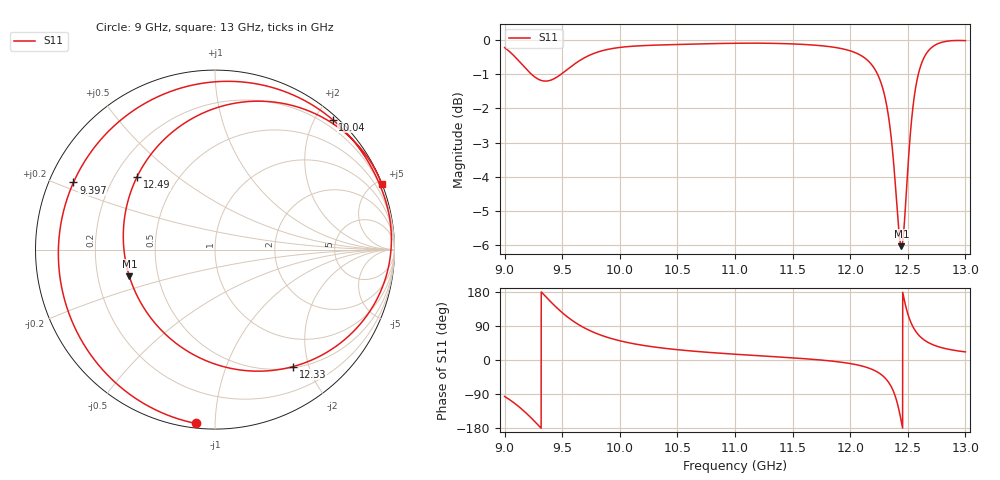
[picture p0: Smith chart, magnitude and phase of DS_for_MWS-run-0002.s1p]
! TOUCHSTONE file generated by CST DESIGN STUDIO
! Date and time: Tue Feb  4 15:51:05 2025
! Project name: C:\Work\MatlabApps\UnitCellOptimizationMatlab\CST\unitcell.cst
! Tree item: Tasks\Sweep1\SPara1\S-Parameters
! Header version: 2024
! Port assignment regex: !\s*Touchstone port\s*([0-9]+)\s*=\s*(CST MWS port|CST DES external port|CST DES block port)\s*(.+)\s* \(\"(.*)\"\)(\s*mode\s*([0-9]+))?.*
! Touchstone port assignment:
! Touchstone port 1 = CST DES external port 1 ("")
# GHz S MA R 50
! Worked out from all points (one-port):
!   4001 points, 9 GHz to 13 GHz, reference 50 ohm
!   lowest |S11| = -6.0 dB at 12.44 GHz (marker M1), VSWR 3.00, Z = 17 - j6.77 ohm
!   |S11| at or under -10 dB: nowhere
!   S11 on the Smith chart (normalised r, x): 9 GHz: 0.02, -0.90; 9.397 GHz: 0.07, +0.22; 10.04 GHz: 0.07, +2.25; 12.33 GHz: 0.52, -1.75; 12.49 GHz: 0.29, +0.36; 13 GHz: 0.04, +5.29
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9  0.9744 -96.3
9.121  0.9326 -122.5
9.24  0.8888 -155.7
9.318  0.8725 179.7
9.397  0.8729 154.6
9.5  0.8934 125.0
9.585  0.9163 104.8
9.681  0.9392 86.6
9.83  0.9624 66.2
10  0.9749 50.7
10.04  0.9766 47.9
10.5  0.9846 27.2
11  0.9887 15.2
11.5  0.9865 5.6
12  0.9638 -9.4
12.211  0.9076 -27.6
12.276  0.857 -40.0
12.327  0.7838 -56.2
12.392  0.6149 -96.4
12.444  0.4998 -162.6
12.486  0.5939 137.0
12.5  0.6477 121.8
12.528  0.7487 98.3
12.56  0.835 79.7
12.611  0.9154 60.7
12.67  0.9598 47.4
12.796  0.9919 32.4
13  0.9974 21.4
